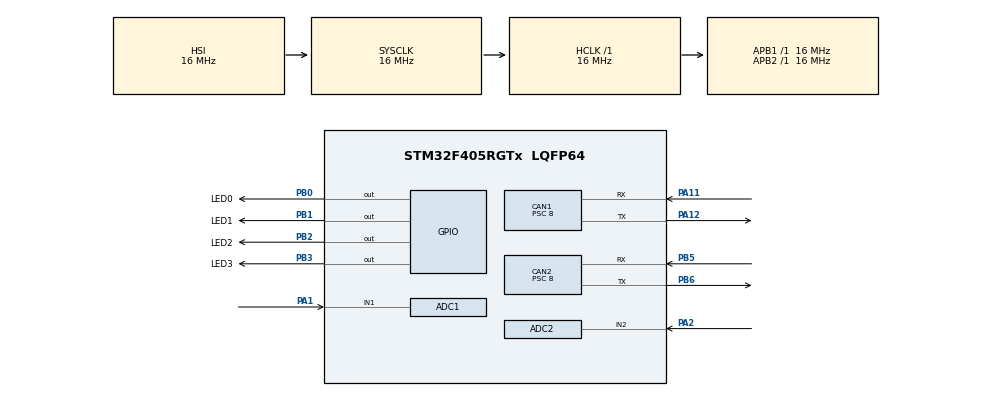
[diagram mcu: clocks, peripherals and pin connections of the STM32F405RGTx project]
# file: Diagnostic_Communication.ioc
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ADC1.Channel-0\#ChannelRegularConversion=ADC_CHANNEL_1
ADC1.NbrOfConversionFlag=1
ADC1.Rank-0\#ChannelRegularConversion=1
ADC1.SamplingTime-0\#ChannelRegularConversion=ADC_SAMPLETIME_3CYCLES
ADC1.master=1
ADC2.Channel-0\#ChannelRegularConversion=ADC_CHANNEL_2
ADC2.NbrOfConversionFlag=1
ADC2.Rank-0\#ChannelRegularConversion=1
ADC2.SamplingTime-0\#ChannelRegularConversion=ADC_SAMPLETIME_3CYCLES
CAN1.BS1=CAN_BS1_2TQ
CAN1.CalculateBaudRate=500000
CAN1.CalculateTimeBit=2000
CAN1.CalculateTimeQuantum=500.0
CAN1.Mode=CAN_MODE_NORMAL
CAN1.Prescaler=8
CAN2.BS1=CAN_BS1_2TQ
CAN2.CalculateBaudRate=500000
CAN2.CalculateTimeBit=2000
CAN2.CalculateTimeQuantum=500.0
CAN2.Mode=CAN_MODE_NORMAL
CAN2.Prescaler=8
Mcu.Family=STM32F4
Mcu.Name=STM32F405RGTx
Mcu.Package=LQFP64
NVIC.CAN1_RX0_IRQn=true\:0\:0\:false\:false\:true\:true\:true\:true
NVIC.CAN1_RX1_IRQn=true\:0\:0\:false\:false\:true\:true\:true\:true
NVIC.CAN2_RX0_IRQn=true\:0\:0\:false\:false\:true\:true\:true\:true
NVIC.CAN2_RX1_IRQn=true\:0\:0\:false\:false\:true\:true\:true\:true
NVIC.PriorityGroup=NVIC_PRIORITYGROUP_4
NVIC.TIM6_DAC_IRQn=true\:0\:0\:false\:false\:true\:true\:true\:true
PA1.Signal=ADCx_IN1
PA11.Mode=CAN_Activate
PA11.Signal=CAN1_RX
PA12.Mode=CAN_Activate
PA12.Signal=CAN1_TX
PA2.Signal=ADCx_IN2
PB0.GPIO_Label=LED0
PB0.Signal=GPIO_Output
PB1.GPIO_Label=LED1
PB1.Signal=GPIO_Output
PB2.GPIO_Label=LED2
PB2.Signal=GPIO_Output
PB3.GPIO_Label=LED3
PB3.Signal=GPIO_Output
PB5.Mode=CAN_Activate
PB5.Signal=CAN2_RX
PB6.Mode=CAN_Activate
PB6.Signal=CAN2_TX
ProjectManager.HeapSize=0x200
ProjectManager.StackSize=0x400
ProjectManager.TargetToolchain=STM32CubeIDE
RCC.AHBFreq_Value=16000000
RCC.APB1Freq_Value=16000000
RCC.APB2Freq_Value=16000000
RCC.CortexFreq_Value=16000000
RCC.HSE_VALUE=25000000
RCC.HSI_VALUE=16000000
RCC.LSE_VALUE=32768
RCC.SYSCLKFreq_VALUE=16000000
RCC.VCOOutputFreq_Value=192000000
SH.ADCx_IN1.0=ADC1_IN1,IN1
SH.ADCx_IN2.0=ADC2_IN2,IN2
TIM6.Period=999
TIM6.Prescaler=15
VP_TIM6_VS_ClockSourceINT.Mode=Enable_Timer
board=custom

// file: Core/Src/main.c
/* USER CODE BEGIN Header */
/**
  ******************************************************************************
  * @file           : main.c
  * @brief          : Main program body
  ******************************************************************************
  * @attention
  *
  * Copyright (c) 2023 STMicroelectronics.
  * All rights reserved.
  *
  * This software is licensed under terms that can be found in the LICENSE file
  * in the root directory of this software component.
  * If no LICENSE file comes with this software, it is provided AS-IS.
  *
  ******************************************************************************
  */
/* USER CODE END Header */
#include "main.h"

ADC_HandleTypeDef hadc1;
ADC_HandleTypeDef hadc2;

CAN_HandleTypeDef hcan1;
CAN_HandleTypeDef hcan2;

TIM_HandleTypeDef htim6;

/* USER CODE BEGIN PV */
CAN_TxHeaderTypeDef TxHeader1;
CAN_TxHeaderTypeDef TxHeader2;
CAN_RxHeaderTypeDef RxHeader1;
CAN_RxHeaderTypeDef RxHeader2;

uint8_t TxData1[8] = {0};
uint8_t TxData2[8] = {0};

uint8_t RxData1[8] = {0};
uint8_t RxData2[8] = {0};

uint32_t TxMailbox1;
uint32_t TxMailbox2;

int can1_flag = 0;
int can2_flag = 0;
int can_flag = 0;

int timer_flag = 0;
/* USER CODE END PV */

void SystemClock_Config(void);
static void MX_GPIO_Init(void);
static void MX_CAN1_Init(void);
static void MX_CAN2_Init(void);
static void MX_TIM6_Init(void);
static void MX_ADC1_Init(void);
static void MX_ADC2_Init(void);

/* USER CODE BEGIN 0 */
uint8_t gencrc(uint8_t *data, size_t len)
{
    uint8_t crc = 0xff;
    size_t i, j;
    for (i = 0; i < len; i++) {
        crc ^= data[i];
        for (j = 0; j < 8; j++) {
            if ((crc & 0x80) != 0)
                crc = (uint8_t)((crc << 1) ^ 0x31);
            else
                crc <<= 1;
        }
    }
    return crc;
}

void write_data(uint8_t dataIn[], uint8_t dataOut[]) {
    for (int i=0; i<8; i++){
        dataOut[i] = dataIn[i];
    }
    dataOut[2] = dataOut[1] + dataOut[0];
    dataOut[6] = gencrc(dataIn, 7);
    dataOut[7] = 0;
}
/* USER CODE END 0 */

int main(void)
{

  /* MCU Configuration--------------------------------------------------------*/

  /* Reset of all peripherals, Initializes the Flash interface and the Systick. */
  HAL_Init();

  /* Configure the system clock */
  SystemClock_Config();

  /* Initialize all configured peripherals */
  MX_GPIO_Init();
  MX_CAN1_Init();
  MX_CAN2_Init();
  MX_TIM6_Init();
  MX_ADC1_Init();
  MX_ADC2_Init();
  /* USER CODE BEGIN 2 */
  HAL_TIM_Base_Start_IT(&htim6);
  HAL_ADC_Start(&hadc1);
  HAL_ADC_Start(&hadc2);

  HAL_CAN_Start(&hcan1);
  HAL_CAN_Start(&hcan2);

  HAL_CAN_ActivateNotification(&hcan1, CAN_IT_RX_FIFO0_MSG_PENDING);
  HAL_CAN_ActivateNotification(&hcan2, CAN_IT_RX_FIFO0_MSG_PENDING);

  TxHeader1.IDE = CAN_ID_STD;
  TxHeader1.StdId = 0x012;
  TxHeader1.RTR = CAN_RTR_DATA;
  TxHeader1.DLC = 8;

  TxHeader2.IDE = CAN_ID_STD;
  TxHeader2.StdId = 0x0A2;
  TxHeader2.RTR = CAN_RTR_DATA;
  TxHeader2.DLC = 8;
  TxData1[0] = 0x01;
  TxData1[1] = 0x10;
  /* USER CODE END 2 */

  /* Infinite loop */
  while (1)
  {

  }
}

void SystemClock_Config(void)
{
  RCC_OscInitTypeDef RCC_OscInitStruct = {0};
  RCC_ClkInitTypeDef RCC_ClkInitStruct = {0};

  /** Configure the main internal regulator output voltage
  */
  __HAL_RCC_PWR_CLK_ENABLE();
  __HAL_PWR_VOLTAGESCALING_CONFIG(PWR_REGULATOR_VOLTAGE_SCALE1);

  /** Initializes the RCC Oscillators according to the specified parameters
  * in the RCC_OscInitTypeDef structure.
  */
  RCC_OscInitStruct.OscillatorType = RCC_OSCILLATORTYPE_HSI;
  RCC_OscInitStruct.HSIState = RCC_HSI_ON;
  RCC_OscInitStruct.HSICalibrationValue = RCC_HSICALIBRATION_DEFAULT;
  RCC_OscInitStruct.PLL.PLLState = RCC_PLL_NONE;
  if (HAL_RCC_OscConfig(&RCC_OscInitStruct) != HAL_OK)
  {
    Error_Handler();
  }

  /** Initializes the CPU, AHB and APB buses clocks
  */
  RCC_ClkInitStruct.ClockType = RCC_CLOCKTYPE_HCLK|RCC_CLOCKTYPE_SYSCLK
                              |RCC_CLOCKTYPE_PCLK1|RCC_CLOCKTYPE_PCLK2;
  RCC_ClkInitStruct.SYSCLKSource = RCC_SYSCLKSOURCE_HSI;
  RCC_ClkInitStruct.AHBCLKDivider = RCC_SYSCLK_DIV1;
  RCC_ClkInitStruct.APB1CLKDivider = RCC_HCLK_DIV1;
  RCC_ClkInitStruct.APB2CLKDivider = RCC_HCLK_DIV1;

  if (HAL_RCC_ClockConfig(&RCC_ClkInitStruct, FLASH_LATENCY_0) != HAL_OK)
  {
    Error_Handler();
  }
}

static void MX_ADC1_Init(void)
{

  ADC_ChannelConfTypeDef sConfig = {0};

  /** Configure the global features of the ADC (Clock, Resolution, Data Alignment and number of conversion)
  */
  hadc1.Instance = ADC1;
  hadc1.Init.ClockPrescaler = ADC_CLOCK_SYNC_PCLK_DIV2;
  hadc1.Init.Resolution = ADC_RESOLUTION_12B;
  hadc1.Init.ScanConvMode = DISABLE;
  hadc1.Init.ContinuousConvMode = DISABLE;
  hadc1.Init.DiscontinuousConvMode = DISABLE;
  hadc1.Init.ExternalTrigConvEdge = ADC_EXTERNALTRIGCONVEDGE_NONE;
  hadc1.Init.ExternalTrigConv = ADC_SOFTWARE_START;
  hadc1.Init.DataAlign = ADC_DATAALIGN_RIGHT;
  hadc1.Init.NbrOfConversion = 1;
  hadc1.Init.DMAContinuousRequests = DISABLE;
  hadc1.Init.EOCSelection = ADC_EOC_SINGLE_CONV;
  if (HAL_ADC_Init(&hadc1) != HAL_OK)
  {
    Error_Handler();
  }

  /** Configure for the selected ADC regular channel its corresponding rank in the sequencer and its sample time.
  */
  sConfig.Channel = ADC_CHANNEL_1;
  sConfig.Rank = 1;
  sConfig.SamplingTime = ADC_SAMPLETIME_3CYCLES;
  if (HAL_ADC_ConfigChannel(&hadc1, &sConfig) != HAL_OK)
  {
    Error_Handler();
  }

}

static void MX_ADC2_Init(void)
{

  ADC_ChannelConfTypeDef sConfig = {0};

  /** Configure the global features of the ADC (Clock, Resolution, Data Alignment and number of conversion)
  */
  hadc2.Instance = ADC2;
  hadc2.Init.ClockPrescaler = ADC_CLOCK_SYNC_PCLK_DIV2;
  hadc2.Init.Resolution = ADC_RESOLUTION_12B;
  hadc2.Init.ScanConvMode = DISABLE;
  hadc2.Init.ContinuousConvMode = DISABLE;
  hadc2.Init.DiscontinuousConvMode = DISABLE;
  hadc2.Init.ExternalTrigConvEdge = ADC_EXTERNALTRIGCONVEDGE_NONE;
  hadc2.Init.ExternalTrigConv = ADC_SOFTWARE_START;
  hadc2.Init.DataAlign = ADC_DATAALIGN_RIGHT;
  hadc2.Init.NbrOfConversion = 1;
  hadc2.Init.DMAContinuousRequests = DISABLE;
  hadc2.Init.EOCSelection = ADC_EOC_SINGLE_CONV;
  if (HAL_ADC_Init(&hadc2) != HAL_OK)
  {
    Error_Handler();
  }

  /** Configure for the selected ADC regular channel its corresponding rank in the sequencer and its sample time.
  */
  sConfig.Channel = ADC_CHANNEL_2;
  sConfig.Rank = 1;
  sConfig.SamplingTime = ADC_SAMPLETIME_3CYCLES;
  if (HAL_ADC_ConfigChannel(&hadc2, &sConfig) != HAL_OK)
  {
    Error_Handler();
  }

}

static void MX_CAN1_Init(void)
{

  hcan1.Instance = CAN1;
  hcan1.Init.Prescaler = 8;
  hcan1.Init.Mode = CAN_MODE_NORMAL;
  hcan1.Init.SyncJumpWidth = CAN_SJW_1TQ;
  hcan1.Init.TimeSeg1 = CAN_BS1_2TQ;
  hcan1.Init.TimeSeg2 = CAN_BS2_1TQ;
  hcan1.Init.TimeTriggeredMode = DISABLE;
  hcan1.Init.AutoBusOff = DISABLE;
  hcan1.Init.AutoWakeUp = DISABLE;
  hcan1.Init.AutoRetransmission = DISABLE;
  hcan1.Init.ReceiveFifoLocked = DISABLE;
  hcan1.Init.TransmitFifoPriority = DISABLE;
  if (HAL_CAN_Init(&hcan1) != HAL_OK)
  {
    Error_Handler();
  }

}

static void MX_CAN2_Init(void)
{

  hcan2.Instance = CAN2;
  hcan2.Init.Prescaler = 8;
  hcan2.Init.Mode = CAN_MODE_NORMAL;
  hcan2.Init.SyncJumpWidth = CAN_SJW_1TQ;
  hcan2.Init.TimeSeg1 = CAN_BS1_2TQ;
  hcan2.Init.TimeSeg2 = CAN_BS2_1TQ;
  hcan2.Init.TimeTriggeredMode = DISABLE;
  hcan2.Init.AutoBusOff = DISABLE;
  hcan2.Init.AutoWakeUp = DISABLE;
  hcan2.Init.AutoRetransmission = DISABLE;
  hcan2.Init.ReceiveFifoLocked = DISABLE;
  hcan2.Init.TransmitFifoPriority = DISABLE;
  if (HAL_CAN_Init(&hcan2) != HAL_OK)
  {
    Error_Handler();
  }

}

static void MX_TIM6_Init(void)
{

  TIM_MasterConfigTypeDef sMasterConfig = {0};

  htim6.Instance = TIM6;
  htim6.Init.Prescaler = 15;
  htim6.Init.CounterMode = TIM_COUNTERMODE_UP;
  htim6.Init.Period = 999;
  htim6.Init.AutoReloadPreload = TIM_AUTORELOAD_PRELOAD_DISABLE;
  if (HAL_TIM_Base_Init(&htim6) != HAL_OK)
  {
    Error_Handler();
  }
  sMasterConfig.MasterOutputTrigger = TIM_TRGO_RESET;
  sMasterConfig.MasterSlaveMode = TIM_MASTERSLAVEMODE_DISABLE;
  if (HAL_TIMEx_MasterConfigSynchronization(&htim6, &sMasterConfig) != HAL_OK)
  {
    Error_Handler();
  }

}

static void MX_GPIO_Init(void)
{
  GPIO_InitTypeDef GPIO_InitStruct = {0};

  /* GPIO Ports Clock Enable */
  __HAL_RCC_GPIOA_CLK_ENABLE();
  __HAL_RCC_GPIOB_CLK_ENABLE();

  /*Configure GPIO pin Output Level */
  HAL_GPIO_WritePin(GPIOB, LED0_Pin|LED1_Pin|LED2_Pin|LED3_Pin, GPIO_PIN_RESET);

  /*Configure GPIO pins : LED0_Pin LED1_Pin LED2_Pin LED3_Pin */
  GPIO_InitStruct.Pin = LED0_Pin|LED1_Pin|LED2_Pin|LED3_Pin;
  GPIO_InitStruct.Mode = GPIO_MODE_OUTPUT_PP;
  GPIO_InitStruct.Pull = GPIO_NOPULL;
  GPIO_InitStruct.Speed = GPIO_SPEED_FREQ_LOW;
  HAL_GPIO_Init(GPIOB, &GPIO_InitStruct);

}

void Error_Handler(void)
{
  __disable_irq();
  while (1)
  {
  }
}
